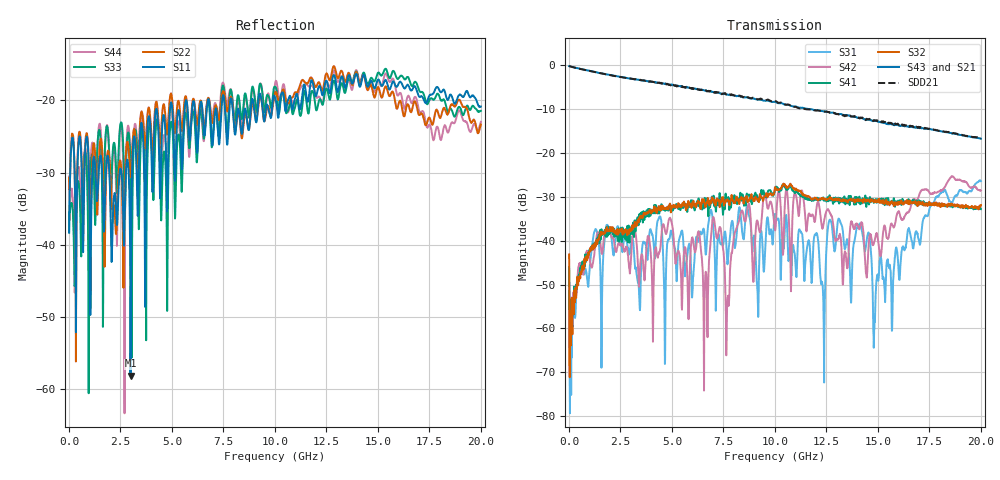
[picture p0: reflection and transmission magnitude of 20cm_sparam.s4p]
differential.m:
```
%% differential only serdes channel simulation

%% setup channel parameters
z0_t = input('Enter the reference impedance: ');
z0_r = input('Enter the terminal impedance (if infinite, type -1): ');

if (z0_t == 0 && z0_r == -1)
        Case = 3;
elseif (z0_t == 0 && z0_r ~= -1)
        Case = 1;
elseif (z0_t ~= 0 && z0_r == -1)
        Case = 4;         
else       
        Case = 2;
end       
bit_rate = 28e9;         %bits-per-second
bit_time = 1/bit_rate;   % second
samples_per_bit = 64;  
sampling_rate = bit_rate * samples_per_bit; 
sample_step = bit_time / samples_per_bit;
seqlength = 10000;   % length of random sequence bits

%% setup channel parameters

%% setup IBIS AMI model path and filename:

modelpath = 'C:\Users\younger\Documents\MATLAB\_develop\_chasim\Qlogic_Cetus_wrk';
tx_amifilename = 'g28_28g_tx.ami';
rx_amifilename = 'g28_28g_rx.ami';
tx_dllfilename = 'G28_28G_Tx_32.dll';
rx_dllfilename = 'G28_28G_Rx_32.dll';

tx_amifile = fullfile(modelpath, tx_amifilename);
rx_amifile = fullfile(modelpath, rx_amifilename);
tx_dllfile = fullfile(modelpath, tx_dllfilename);
rx_dllfile = fullfile(modelpath, rx_dllfilename);

addpath(modelpath)

%% get channel impulse response 
addpath('C:\Users\younger\Documents\MATLAB\_develop\_chasim\impulse_response_oct2012');
addpath('C:\Users\younger\Documents\MATLAB\_develop\_chasim\SYZ_conversions');
s4ppath = 'C:\Users\younger\Documents\MATLAB\_develop\_chasim\Qlogic_Cetus_wrk';

SNP1_s4pname = 'm_qlogic_baker_e049_fc_tx0_shrt.s4p';
SNP1_s4pfile = fullfile(s4ppath, SNP1_s4pname);

SNP2_s4pname = '20cm_sparam.s4p';
SNP2_s4pfile = fullfile(s4ppath, SNP2_s4pname);

SNP3_s4pname = 'm_qlogic_baker_e049_fc_rx0_shrt.s4p';
SNP3_s4pfile = fullfile(s4ppath, SNP3_s4pname);


SNP1_s4pstruct = tsnpimporti(SNP1_s4pfile);
SNP2_s4pstruct = tsnpimporti(SNP2_s4pfile);
SNP3_s4pstruct = tsnpimporti(SNP3_s4pfile);
%input pindex1 pindex2 pindex 3
%need to be chosen accorinding the pin index of the networks
pindex1 = [1 2;3 4];
pindex2 = [1 2;3 4];
pindex3 = [1 2;3 4];

% calculate DC point of S-parameter in 20cm_sparam.s4p
if Case == 2
    Rp = 0.3556 / 0.035 * 0.0175;
    Rpg = 0.2;
    R1 = z0_t;
    R2 = z0_r;
    totR = Rp + Rpg + R1 + R2;
    dcpoint = zeros(4, 4);
    dcpoint(1, 1) = 1 - (2 * R1) / totR;
    dcpoint(1, 2) = (2 * sqrt(R1 * R2)) / totR;
    dcpoint(2, 1) = dcpoint(1, 2);
    dcpoint(2, 2) = 1 - (2 * R2) / totR;
    dcpoint(3, 3) = dcpoint(1, 1);
    dcpoint(3, 4) = dcpoint(1, 2);
    dcpoint(4, 3) = dcpoint(2, 1);
    dcpoint(4, 4) = dcpoint(2, 2);
    % insert DC point
    SNP2_s4pstruct0 = snpinsertdc(SNP2_s4pstruct, dcpoint);
else
    dcpoint = real(SNP2_s4pstruct.data(:,:,1));
    SNP2_s4pstruct0 = snpinsertdc(SNP2_s4pstruct, dcpoint);
end
fq = SNP2_s4pstruct0.freqlist;
[SNPO_conca,pindex,fq,err,errmsg] = concatenate(SNP1_s4pstruct,SNP2_s4pstruct0,pindex1,pindex2,fq);
[SNPO_conca,pindex,fq,err,errmsg] = concatenate(SNPO_conca,SNP3_s4pstruct,pindex,pindex3,fq);

%% get channel impulse response 
znp1 = s2z(SNPO_conca);
ynp = npmatinv(znp1.data);
nfp = length(fq);

mv = [1 0 -1 0; 0 1 0 -1; 0.5 0 0.5 0; 0 0.5 0 0.5];
mi = [0.5 0 -0.5 0; 0 0.5 0 -0.5; 1 0 1 0; 0 1 0 1];
for i=1:nfp
   ym(:,:,i) = (mi * ynp(:,:,i)) * inv(mv);
end
ydd = ym(1:2,1:2,:);

if Case == 2 || Case == 1
    u = [1 0;0 1];
    zt = [-2*z0_t 0;0 -2*z0_r];
    for i=1:nfp
        Htrans(:,:,i) = 2 * inv(u - zt * ydd(:,:,i));
    end

    Htrans1 = Htrans(2, 1, :); % channel transfer function H(jw)
   
end

if Case == 3
     tempy = ym(:,2,:);
     ym(:,2,:) = ym(:,3,:);
     ym(:,3,:) = tempy;
     
     for i = 1:nfp
         Htrans0(:,:,i) = -inv(ym(3:4,3:4,i)) * ym(3:4,1:2,i);
     end
     
     Htrans1 = Htrans0(1,1,:);
end 

if Case == 4
    y22 = ydd(2, 2, :);
    y21 = ydd(2, 1, :);
    for i = 1:nfp
    y11_d(i) = ydd(1,1,i) - ydd(1,2,i) * ydd(2,1,i) * inv(ydd(2,2,i));
    Htrans1(:,:,i) = -y21(:,:,i) / (y22(:,:,i) * (1 + 2 * z0_t * y11_d(i)));
   
    end
   
    
end

Hmirror = conj( Htrans1( :, :, nfp:-1:2) ); % contains nfp-1 data
Htransv(:, :, 1:nfp) = Htrans1;
Htransv(:, :, (nfp + 1):(2 * nfp - 1) ) = Hmirror;

h_n = ifft(Htransv); % channel impulse response hAC(t)
fstop = fq(nfp);   % in Hz
fstep = fstop / (nfp - 1);  % in Hz
fspan = nfp * fstep;
tstep = 1/fspan;    % in seconds
tspan = 1/fstep;    % in seconds 
tlist = 0:tstep:(2*nfp-2)*tstep;    
hac_t = h_n / tstep;

impresi = reshape(h_n, 1, 2*nfp-1);
temp(1,1:68) = impresi(1,2 * nfp - 68:2*nfp-1);
temp(69:2*nfp-1) = impresi(1:2*nfp - 1 - 68);
impresi = temp;

tinterp = 0:sample_step:1e5*sample_step;
[channel_impres, e2, em2] = wavesample(tlist, impresi, tinterp);
plot(tinterp, channel_impres,'--rs', tlist, impresi,'-.bo');
title('Impulse Response');
xlabel('Time');
ylabel('Impulse');
legend('Resampled');
grid on;

%% IBIS AMI_Init
amipari = txt2str( tx_amifile );

if isrow(channel_impres)
    channel_impres = channel_impres';
end

[dllpath, dllname, dllext] = fileparts(tx_dllfile);
addpath(dllpath);

lload = loadlibrary(tx_dllfile);
isloadedok = libisloaded(dllname);
libfun = libfunctions(dllname, '-full');


[row_size,aggressors] = size(channel_impres);

amiparo_ptrptr = libpointer('stringPtrPtr', {''});
amimemhdl_ptrptr = libpointer('voidPtrPtr', []);
amimsg_ptrptr = libpointer('stringPtrPtr', {''});

[ret0, impresotx, pario, amiparo, mhtx, amimsg ] = ...
    calllib(dllname, 'AMI_Init', channel_impres, row_size, aggressors-1, sample_step, bit_time, ...
            amipari, amiparo_ptrptr, amimemhdl_ptrptr, amimsg_ptrptr);
        
% [long, doublePtr, cstring, stringPtrPtr, voidPtrPtr, stringPtrPtr
pauseanchor=1;
% [ impresotx, amiparotx, mhtx, initmsgtx, errtx, errmsgtx ] = amiinit_1207a(tx_amifile, tx_dllfile, channel_impres, sample_step, bit_time);
 
plot(tinterp, channel_impres,'--rs', tinterp, impresotx','-.bo');
title('Impulse Response');
xlabel('Time');
ylabel('Impulse');
legend('Whatever');
grid on;

% [ impresorx, amiparorx, mhrx, initmsgrx, errrx, errmsgrx ] = amiinit_1207a(rx_amifile, rx_dllfile, impresotx, sample_step, bit_time);
amipari = txt2str( rx_amifile );

if isrow(impresotx)
    impresotx = impresotx';
end

[dllpath, dllname, dllext] = fileparts(rx_dllfile);
addpath(dllpath);

lload = loadlibrary(rx_dllfile);
isloadedok = libisloaded(dllname);
libfun = libfunctions(dllname, '-full');


[row_size,aggressors] = size(impresotx);

amiparo_ptrptr1 = libpointer('stringPtrPtr', {''});
amimemhdl_ptrptr1 = libpointer('voidPtrPtr', []);
amimsg_ptrptr1 = libpointer('stringPtrPtr', {''});

[ret0, impresorx, pario, amiparo, mhrx, amimsg ] = ...
    calllib(dllname, 'AMI_Init', impresotx, row_size, aggressors-1, sample_step, bit_time, ...
            amipari, amiparo_ptrptr1, amimemhdl_ptrptr1, amimsg_ptrptr1);
        
% [long, doublePtr, cstring, stringPtrPtr, voidPtrPtr, stringPtrPtr
pauseanchor=1;

plot(tinterp, channel_impres,'--rs', tinterp, impresotx','-.bo', tinterp, (impresorx - 0.05)',':md');
title('Impulse Response');
xlabel('Time');
ylabel('Impulse');
legend('Modified');
grid on;

%% IBIS AMI_GetWave, Tx
seqi = prbs1(seqlength);
[wavei,sample_step_txgw, tlistt, etxgw,emtxgw] = bnrzmod(seqi, bit_rate, samples_per_bit);
wave_time = tlistt; 

clk_count = seqlength + 2;
%clki = 0:bit_time:clk_count*bit_time;
clki = rand(1, clk_count) * seqlength * bit_time;


[ waveo, clko, amiparo, amimemhdl, err, errmsg ] = amigetwave_1208a(tx_dllfile, mhtx, wavei, clki);

plot(wave_time, wavei,'--rs', wave_time, waveo,'-.bo');
title('Impulse Response');
xlabel('Time');
ylabel('Impulse');
%legend('Whatever');
grid on;

%% convolution with channel impulse response

wave_rxin = conv(waveo, impresorx');
wave_time_rxin = ( 0: (length(wave_rxin)-1) ) * sample_step_txgw;
plot(wave_time, wavei,'--ms', wave_time, waveo,'--rd', wave_time_rxin, wave_rxin*0.1,'-.bo');
title('Impulse Response');
xlabel('Time');
ylabel('Impulse');
%legend('Whatever');
grid on;

%% IBIS AMI_GetWave, Rx
seqlength_rxin = length(wave_rxin) / samples_per_bit ;
clk_count = int64(seqlength_rxin + 10);
clki = rand(1, clk_count) * seqlength_rxin * bit_time;

[ wave_rxo, clk_rxo, amipar_rxo, amimemhdl_rxo, errrxo, errmsgrxo ] = amigetwave_1208a(rx_dllfile, mhrx, wave_rxin * 0.1, clki);
plot(wave_time, wavei,'--ms', wave_time, waveo,'--rd', wave_time_rxin, wave_rxin,'-.bo');
plot( wave_time, waveo,'--rd', wave_time_rxin, wave_rxin,'-.bo', wave_time_rxin, wave_rxo,'-.ms');
plot(  wave_time_rxin, wave_rxin*0.1,'-.bo', wave_time_rxin, wave_rxo,'-.ms');
title('Impulse Response');
xlabel('Time');
ylabel('Impulse');
legend('Whatever');
grid on;

clf;
wave_time_rxin_12 = wave_time_rxin(7000:(7000+samples_per_bit*100));
wave_rxin_12      = wave_rxin(7000:(7000+samples_per_bit*100));
wave_rxo_12       = wave_rxo(7000:(7000+samples_per_bit*100));
plot(  wave_time_rxin_12, wave_rxin_12*0.1,'-.bo', wave_time_rxin_12, wave_rxo_12,'-.ms');
title('Impulse Response');
xlabel('Time');
ylabel('Impulse');
%legend('Whatever');
grid on;

h = eyediagram(wave_rxo(7000:(7000+samples_per_bit*100)), 2*samples_per_bit);

pausehere=1;
```
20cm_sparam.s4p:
! S11 = SDD11
! S12 = SDD12
! S13 = SDC11
! S14 = SDC12
! S21 = SDD21
! S22 = SDD22
! S23 = SDC21
! S24 = SDC22
! S31 = SCD11
! S32 = SCD12
! S33 = SCC11
! S34 = SCC12
! S41 = SCD21
! S42 = SCD22
! S43 = SCC21
! S44 = SCC22
! FILE: L:\Projects\Eval Projects\Cetus A1\Receiver\LSI Compliance Channels\20 cm\20cm sparam.s4p
!$DUT_CFG_DESC: Default 4 Port Configuration
!$NUMBER_PORTS: 4
!$DIFF_PORT_MAP: 1|2P|2|2P|0|UC|0|UC|
!$PORT_MAP: 1|1|<<<<<<|2|2|>>>>>>|3|3|<<<<<<|4|4|>>>>>>|
# MHz S MA R 50.00
! FREQ  S11  S12  S13  S14
!  S21  S22  S23  S24
!  S31  S32  S33  S34
!  S41  S42  S43  S44
!  MAG  ANGLE  MAG  ANGLE  MAG  ANGLE  MAG  ANGLE
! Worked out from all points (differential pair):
!   2000 points, 10 MHz to 20 GHz, reference 50 ohm
!   strongest paths, dB at 10 MHz, 5.01 GHz, 10.01 GHz, 15.01 GHz, 20 GHz:
!     S43: -0.2, -4.5, -8.3, -12.8, -16.7
!     S21: -0.2, -4.6, -8.3, -12.7, -16.8
!     S32: -43.1, -32.4, -27.8, -31.0, -31.8
!     S41: -46.0, -32.7, -28.2, -30.9, -32.8
!     S42: -52.7, -36.4, -37.7, -39.9, -28.6
!     S31: -51.6, -38.4, -33.9, -48.9, -26.4
!   taken as a pair (ports 3,1 in; 4,2 out), SDD21 dB: -0.2, -4.6, -8.1, -12.7, -16.6
!   lowest |S11| = -58.1 dB at 2.99 GHz (marker M1), VSWR 1.00, Z = 50 + j0.123 ohm
!   |S11| at or under -10 dB: start of sweep to end of sweep
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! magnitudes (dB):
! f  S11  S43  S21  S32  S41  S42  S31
! 10 MHz  -38.3  -0.2  -0.2  -43.1  -46.0  -52.7  -51.6
! 2.99 GHz  -58.1  -3.0  -3.0  -37.5  -38.1  -46.1  -41.4
! 20 GHz  -20.8  -16.7  -16.8  -31.8  -32.8  -28.6  -26.4
